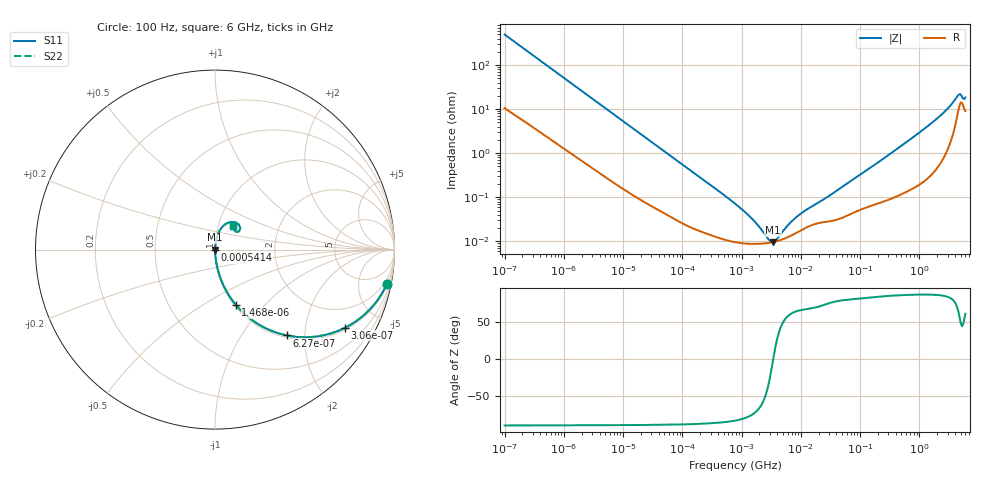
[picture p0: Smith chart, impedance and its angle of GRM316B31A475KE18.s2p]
!Murata Part Number: GRM316B31A475KE18
!These Parameters are Measured in Series Mode Connection
!Data Generated on Mar 30, 2021
!  o--ll--o
!Port1  Port2
!  o------o
!Operation Temp=25[degC], DC Bias Voltage=0[V]
!Freq. Start=100[Hz] Stop=6[GHz] 401[Steps]
# Hz S RI R 50
!Freq.(Hz) S11(Real) S11(Imag) S21(Real) S21(Imag) S12(Real) S12(Imag) S22(Real) S22(Imag)
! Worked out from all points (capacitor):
!   401 points, 100 Hz to 6 GHz, reference 50 ohm
!   read as one part in series: C = 3.2 uF near 109 Hz
!   lowest |Z| = 9.58 mohm at 3.394 MHz (marker M1)
!   series resonance near 3.421 MHz, so ESL is about 680 pH
!   S11 on the Smith chart (normalised r, x): 100 Hz: 1.21, -9.92; 306 Hz: 1.08, -3.29; 627 Hz: 1.04, -1.62; 1.468 kHz: 1.02, -0.70; 541.4 kHz: 1.00, -0.00; 6 GHz: 1.18, +0.32
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100  0.9571 -0.1922  0.0429 0.1922  0.0429 0.1922  0.9571 -0.1922
179  0.881 -0.3129  0.119 0.3129  0.119 0.3129  0.881 -0.3129
306  0.7255 -0.4348  0.2745 0.4348  0.2745 0.4348  0.7255 -0.4348
627  0.3999 -0.478  0.6001 0.478  0.6001 0.478  0.3999 -0.478
981  0.2203 -0.4023  0.7797 0.4023  0.7797 0.4023  0.2203 -0.4023
1468  0.1161 -0.3079  0.8839 0.3079  0.8839 0.3079  0.1161 -0.3079
2008  0.068 -0.2391  0.932 0.2391  0.932 0.2391  0.068 -0.2391
6728  0.00829 -0.0778  0.9917 0.0778  0.9917 0.0778  0.00829 -0.0778
40335  0.000689 -0.0135  0.9993 0.0135  0.9993 0.0135  0.000689 -0.0135
541393  0.000108 -0.00104  0.9999 0.00104  0.9999 0.00104  0.000108 -0.00104
774597  9.6e-05 -0.000712  0.9999 0.000712  0.9999 0.000712  9.6e-05 -0.000712
1585629  8.73e-05 -0.000289  0.9999 0.000289  0.9999 0.000289  8.73e-05 -0.000289
2837864  9.18e-05 -6.36e-05  0.9999 6.36e-05  0.9999 6.36e-05  9.18e-05 -6.36e-05
3394479  9.58e-05 -2.6e-06  0.9999 2.6e-06  0.9999 2.6e-06  9.58e-05 -2.6e-06
4060267  0.000102 5.74e-05  0.9999 -5.74e-05  0.9999 -5.74e-05  0.000102 5.74e-05
7599586  0.000144 0.000278  0.9999 -0.000278  0.9999 -0.000278  0.000144 0.000278
1.555665e7  0.000235 0.000581  0.9998 -0.000581  0.9998 -0.000581  0.000235 0.000581
3.124326e8  0.000976 0.00933  0.999 -0.00933  0.999 -0.00933  0.000976 0.00933
1.873145e9  0.00726 0.0562  0.9927 -0.0562  0.9927 -0.0562  0.00726 0.0562
3.352442e9  0.0307 0.1137  0.9693 -0.1137  0.9693 -0.1137  0.0307 0.1137
4.385646e9  0.0929 0.1544  0.9071 -0.1544  0.9071 -0.1544  0.0929 0.1544
6e9  0.1022 0.1316  0.8978 -0.1316  0.8978 -0.1316  0.1022 0.1316
